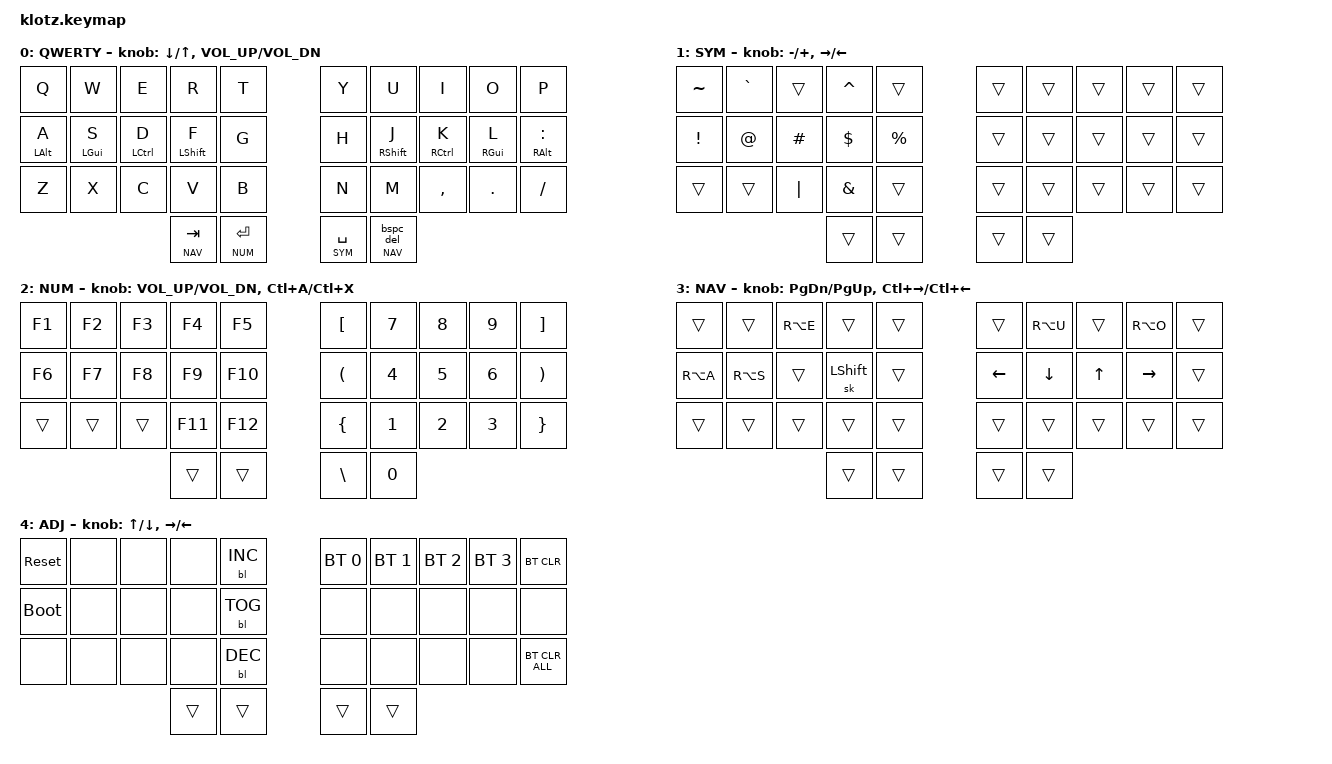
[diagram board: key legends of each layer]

//              █         ██        ▄▀▀▀▀▀▀▀▀▀▀█▀▀▀▀▀▀▀▀█▀▀▀▀▀▀▀▀▀▀█
//              █        █ █      ▄▀            ▀▄      █         █
//              █       █  █    ▄▀                ▀▄    █        █
//              █      █   █   █                    █   █       █
//              █     █    █   █                    █   █      █
//              █    █     █   █                    █   █  ▀▀▀█▀▀▀▀
//              █   █ █    █   █                    █   █    █
//              █  █   █   █   █                    █   █   █
//              █ █     █  █    ▀▄                ▄▀    █  █
//              ██       █ █      ▀▄            ▄▀      █ █
//              █         ██▄▄▄▄▄▄▄▄█▄▄▄▄▄▄▄▄▄▄▀        ██▄▄▄▄▄▄▄▄▄▄
//
//▄▄▄▄▄▄▄▄▄▄▄▄▄▄▄▄▄▄▄▄▄▄▄▄▄▄▄▄▄▄▄▄▄▄▄▄▄▄▄▄▄▄▄▄▄▄▄▄▄▄▄▄▄▄▄▄▄▄▄▄▄▄▄▄▄▄▄▄▄▄▄▄▄▄▄▄▄▄▄
//
//

/* ╭────┬────┬────┬────┬────╮ ⌄        ⌄ ╭────┬────┬────┬────┬────╮
   │  0 │  1 │  2 │  3 │  4 │ │  ⌁⌁⌁⌁   │ │  5 │  6 │  7 │  8 │  9 │
   ├────┼────┼────┼────┼────┼─╯        ╰─┼────┼────┼────┼────┼────┤
   │ 10 │ 11 │ 12 │ 13 │ 14 │╭───╮  ╭───╮│ 15 │ 16 │ 17 │ 18 │ 19 │
   ├────┼────┼────┼────┼────┤│ROT│  │ROT│├────┼────┼────┼────┼────┤
   │ 20 │ 21 │ 22 │ 23 │ 24 │╰───╯  ╰───╯│ 25 │ 26 │ 27 │ 28 │ 29 │
   ╰────┴────┴─────────┼────┼────╮  ╭────┼────┼────┼────┴────┴────╯
                       │ 30 │ 31 │  │ 32 │ 33 │
                       ╰────┴────╯  ╰────┴────╯ */

#include <behaviors.dtsi>
#include <dt-bindings/zmk/keys.h>
#include <dt-bindings/zmk/bt.h>
#include <dt-bindings/zmk/outputs.h>
#include <dt-bindings/zmk/backlight.h>

#define TAPPING_TERM_TIME 175
#define QUICK_TAP_TIME 200
#define IDLE_MOD_TIME 200

// LAYERS ├────────────────────────────────────────────┐
#define BAS 0
#define SYM 1
#define NUM 2
#define NAV 3
#define ADJ 4

/ {
    conditional_layers {
        compatible = "zmk,conditional-layers";
        tri_layer {
            if-layers = <1 2>;
            then-layer = <4>;
        };
    };
};

// LAYER-TAP KEYS ├────────────────────────────────────────────┐
#define NUM_ENT &my_lt NUM ENTER
#define SYM_SPC &my_lt SYM SPACE
#define NAV_TAB &my_lt NAV TAB
#define NAV_BSP &my_lt_bspc NAV 0

&caps_word {
    continue-list = <UNDERSCORE MINUS BSPC LSHFT RSHFT>;
};

/ {
    macros {

    };
};

#define COMBO(NAME, BINDINGS, KEYPOS, TIMEOUT) \
combo_##NAME { \
    timeout-ms = <TIMEOUT>; \
    bindings = <BINDINGS>; \
    key-positions = <KEYPOS>; \
};
/ {
    combos {
        compatible = "zmk,combos";
        COMBO(esc, &kp ESC, 13 16, 75)
        COMBO(caps, &caps_word, 10 19, 75)
        COMBO(capslock, &kp CAPSLOCK, 0 9, 75)

        // In the number cluster
        COMBO(singlequote, &kp SINGLE_QUOTE, 6 7, 50)
        COMBO(doublequote, &kp DOUBLE_QUOTES, 7 8, 50)
        COMBO(minus, &kp MINUS, 17 18, 50)
        COMBO(plus, &kp PLUS, 16 17, 50)
        COMBO(equal, &kp EQUAL, 27 28, 50)
        COMBO(star, &kp ASTERISK, 26 27, 50)
        COMBO(underscore, &kp UNDERSCORE, 16 17 18, 50)
    };
};

/ {
    behaviors {
        colsem: colon_semicolon {
            compatible = "zmk,behavior-mod-morph";
            label = "inverted colon/semicolon";
            #binding-cells = <0>;
            bindings = <&kp COLON>, <&kp SEMICOLON>;
            mods = <(MOD_LSFT|MOD_RSFT)>;
        };

        bspc_del: backspace_delete {
            compatible = "zmk,behavior-mod-morph";
            label = "backspace and shift delete";
            #binding-cells = <0>;
            bindings = <&kp BACKSPACE>, <&kp DELETE>;
            mods = <(MOD_LSFT|MOD_RSFT)>;
        };

        hl: homerow_mods_left {
            compatible = "zmk,behavior-hold-tap";
            label = "homerow mods left";
            #binding-cells = <2>;
            flavor = "tap-preferred";
            tapping-term-ms = <TAPPING_TERM_TIME>;
            quick-tap-ms = <QUICK_TAP_TIME>;
            require-prior-idle-ms = <IDLE_MOD_TIME>;
            // global-quick-tap;
            bindings = <&kp>, <&kp>;
            // opposite side hand keys
            hold-trigger-key-positions = <5 6 7 8 9 15 16 17 18 19 25 26 27 28 29 32 33>;
        };

        hr: homerow_mods_right {
            compatible = "zmk,behavior-hold-tap";
            label = "homerow mods right";
            #binding-cells = <2>;
            flavor = "tap-preferred";
            tapping-term-ms = <TAPPING_TERM_TIME>;
            quick-tap-ms = <QUICK_TAP_TIME>;
            require-prior-idle-ms = <IDLE_MOD_TIME>;
            // global-quick-tap;
            bindings = <&kp>, <&kp>;
            // opposite side hand keys
            hold-trigger-key-positions = <0 1 2 3 4 10 11 12 13 14 20 21 22 23 24 30 31>;
        };

        my_lt: my_layer_taps {
            compatible = "zmk,behavior-hold-tap";
            label = "my layer taps";
            #binding-cells = <2>;
            // flavor = "tap-preferred";
            flavor = "balanced";
            tapping-term-ms = <TAPPING_TERM_TIME>;
            quick-tap-ms = <QUICK_TAP_TIME>;
            require-prior-idle-ms = <IDLE_MOD_TIME>;
            // global-quick-tap;
            bindings = <&mo>, <&kp>;
            // non-thumb keys
            /* hold-trigger-key-positions = <0 1 2 3 4 5 6 7 8 9 10 11 12 13 14 15 16 17 18 19 20 21 22 23>; */
        };

        my_lt_bspc: my_layer_tap_bspc_del {
            compatible = "zmk,behavior-hold-tap";
            label = "my layer taps backspace";
            #binding-cells = <2>;
            tapping-term-ms = <TAPPING_TERM_TIME>;
            quick-tap-ms = <QUICK_TAP_TIME>;
            require-prior-idle-ms = <IDLE_MOD_TIME>;
            bindings = <&mo>, <&bspc_del>;
        };
    };
};


/ {

    keymap {
        compatible = "zmk,keymap";

        /*  ┌───────────────────────────────────────────────────────────┐
            │ q w e r t y                                               │
            └───────────────────────────────────────────────────────────┘
            ╭───────────┬───────────┬───────────┬───────────┬───────────╮ ⌄                    ⌄ ╭───────────┬───────────┬───────────┬───────────┬───────────╮
            │     Q     │     W     │     E     │     R     │     T     │ │     ⌁⌁⌁⌁⌁⌁⌁⌁⌁⌁     │ │     Y     │     U     │     I     │     O     │     P     │
            ├───────────┼───────────┼───────────┼───────────┼───────────┼─╯                    ╰─┼───────────┼───────────┼───────────┼───────────┼───────────┤
            │   A/ALT   │   S/GUI   │  D/CTRL   │  F/SHIFT  │     G     │╭──────────╮╭──────────╮│     H     │  J/SHIFT  │  K/CTRL   │   L/GUI   │   :/ALT   │
            ├───────────┼───────────┼───────────┼───────────┼───────────┤│          ││          │├───────────┼───────────┼───────────┼───────────┼───────────┤
            │     Z     │     X     │     C     │     V     │     B     │╰──────────╯╰──────────╯│     N     │     M     │     ,     │     .     │     /     │
            ╰───────────┴───────────┴───────────┴───────────┼───────────┼───────────╮╭───────────┼───────────┼───────────┴───────────┴───────────┴───────────╯
                                                            │  Tab/NAV  │ Enter/NUM ││ Space/SYM │  Esc/NAV  │
                                                            ╰───────────┴───────────╯╰───────────┴───────────╯ */

        qwerty {
            label = "QWERTY";

            bindings = <
             &kp Q       &kp W       &kp E       &kp R       &kp T                                &kp Y       &kp U       &kp I       &kp O       &kp P
             &hl LALT A  &hl LGUI S  &hl LCTRL D &hl LSHFT F &kp G                                &kp H       &hr RSHFT J &hr RCTRL K &hr RGUI L  &hr RALT COLON
             &kp Z       &kp X       &kp C       &kp V       &kp B                                &kp N       &kp M       &kp COMMA   &kp DOT     &kp SLASH
                                                             NAV_TAB     NUM_ENT      SYM_SPC     NAV_BSP
            >;
            sensor-bindings = <&inc_dec_kp DOWN UP &inc_dec_kp C_VOL_UP C_VOL_DN>;
        };

        /*  ┌───────────────────────────────────────────────────────────┐
            │ s y m b o l s                                             │
            └───────────────────────────────────────────────────────────┘
            ╭───────────┬───────────┬───────────┬───────────┬───────────╮ ⌄                    ⌄ ╭───────────┬───────────┬───────────┬───────────┬───────────╮
            │     ~     │     `     │           │     ^     │           │ │     ⌁⌁⌁⌁⌁⌁⌁⌁⌁⌁       │ │           │           │           │           │           │
            ├───────────┼───────────┼───────────┼───────────┼───────────┼─╯                    ╰─┼───────────┼───────────┼───────────┼───────────┼───────────┤
            │     !     │     @     │     #     │     $     │     %     │╭──────────╮╭──────────╮│           │           │           │           │           │
            ├───────────┼───────────┼───────────┼───────────┼───────────┤│          ││          │├───────────┼───────────┼───────────┼───────────┼───────────┤
            │           │           │     |     │     &     │           │╰──────────╯╰──────────╯│           │           │           │           │           │
            ╰───────────┴───────────┴───────────┴───────────┼───────────┼───────────╮╭───────────┼───────────┼───────────┴───────────┴───────────┴───────────╯
                                                            │           │           ││           │           │
                                                            ╰───────────┴───────────╯╰───────────┴───────────╯ */
        symbols {
            label = "SYM";

            bindings = <
             &kp TILDE   &kp GRAVE   &trans      &kp CARET   &trans                               &trans      &trans      &trans      &trans      &trans
             &kp EXCL    &kp AT      &kp HASH    &kp DLLR    &kp PRCNT                            &trans      &trans      &trans      &trans      &trans
             &trans      &trans      &kp PIPE    &kp AMPS    &trans                               &trans      &trans      &trans      &trans      &trans
                                                             &trans       &trans      &trans      &trans
            >;
            sensor-bindings = <&inc_dec_kp MINUS PLUS &inc_dec_kp RIGHT LEFT>;
        };

        /*  ┌───────────────────────────────────────────────────────────┐
            │ n u m b e r s                                             │
            └───────────────────────────────────────────────────────────┘
            ╭───────────┬───────────┬───────────┬───────────┬───────────╮ ⌄                    ⌄ ╭───────────┬───────────┬───────────┬───────────┬───────────╮
            │    F1     │    F2     │    F3     │    F4     │    F5     │ │     ⌁⌁⌁⌁⌁⌁⌁⌁⌁⌁     │ │     [     │     7     │     8     │     9     │     ]     │
            ├───────────┼───────────┼───────────┼───────────┼───────────┼─╯                    ╰─┼───────────┼───────────┼───────────┼───────────┼───────────┤
            │    F6     │    F7     │    F8     │    F9     │    F10    │╭──────────╮╭──────────╮│     (     │     4     │     5     │     6     │     )     │
            ├───────────┼───────────┼───────────┼───────────┼───────────┤│          ││          │├───────────┼───────────┼───────────┼───────────┼───────────┤
            │           │           │           │    F11    │    F12    │╰──────────╯╰──────────╯│     {     │     1     │     2     │     3     │     }     │
            ╰───────────┴───────────┴───────────┴───────────┼───────────┼───────────╮╭───────────┼───────────┼───────────┴───────────┴───────────┴───────────╯
                                                            │           │           ││     \     │     0     │
                                                            ╰───────────┴───────────╯╰───────────┴───────────╯ */
        numbers {
            label = "NUM";

            bindings = <
             &kp F1      &kp F2      &kp F3      &kp F4      &kp F5                               &kp LBKT    &kp N7      &kp N8      &kp N9      &kp RBKT
             &kp F6      &kp F7      &kp F8      &kp F9      &kp F10                              &kp LPAR    &kp N4      &kp N5      &kp N6      &kp RPAR
             &trans      &trans      &trans      &kp F11     &kp F12                              &kp LBRC    &kp N1      &kp N2      &kp N3      &kp RBRC
                                                             &trans       &trans      &kp BSLH    &kp N0
            >;
            sensor-bindings = <&inc_dec_kp C_VOL_UP C_VOL_DN  &inc_dec_kp LC(A) LC(X)>;
        };

        /*  ┌───────────────────────────────────────────────────────────┐
            │ n a v i g a t i o n                                       │
            └───────────────────────────────────────────────────────────┘
            ╭───────────┬───────────┬───────────┬───────────┬───────────╮ ⌄                    ⌄ ╭───────────┬───────────┬───────────┬───────────┬───────────╮
            │           │           │     €     │           │           │ │     ⌁⌁⌁⌁⌁⌁⌁⌁⌁⌁     │ │           │     Ü     │           │     Ö     │           │
            ├───────────┼───────────┼───────────┼───────────┼───────────┼─╯                    ╰─┼───────────┼───────────┼───────────┼───────────┼───────────┤
            │     Ä     │     ß     │           │  OSM SFT  │           │╭──────────╮╭──────────╮│     ←     │     ↓     │     ↑     │     →     │           │
            ├───────────┼───────────┼───────────┼───────────┼───────────┤│          ││          │├───────────┼───────────┼───────────┼───────────┼───────────┤
            │           │           │           │           │           │╰──────────╯╰──────────╯│           │           │           │           │           │
            ╰───────────┴───────────┴───────────┴───────────┼───────────┼───────────╮╭───────────┼───────────┼───────────┴───────────┴───────────┴───────────╯
                                                            │           │           ││           │           │
                                                            ╰───────────┴───────────╯╰───────────┴───────────╯ */
        navigation {
            label = "NAV";

            bindings = <
             &trans      &trans      &kp RA(E)   &trans      &trans                               &trans      &kp RA(U)   &trans      &kp RA(O)   &trans
             &kp RA(A)   &kp RA(S)   &trans      &sk LSHIFT  &trans                               &kp LEFT    &kp DOWN    &kp UP      &kp RIGHT   &trans
             &trans      &trans      &trans      &trans      &trans                               &trans      &trans      &trans      &trans      &trans
                                                             &trans       &trans      &trans      &trans
            >;
            sensor-bindings = <&inc_dec_kp PG_DN PG_UP  &inc_dec_kp LC(RIGHT) LC(LEFT)>;
        };

        /*  ┌───────────────────────────────────────────────────────────┐
            │ a d j u s t                                               │
            └───────────────────────────────────────────────────────────┘
            ╭───────────┬───────────┬───────────┬───────────┬───────────╮ ⌄                    ⌄ ╭───────────┬───────────┬───────────┬───────────┬───────────╮
            │   Reset   │           │           │Tap. Term ↑│           │ │     ⌁⌁⌁⌁⌁⌁⌁⌁⌁⌁       │ │           │     Ü     │           │     Ö     │           │
            ├───────────┼───────────┼───────────┼───────────┼───────────┼─╯                    ╰─┼───────────┼───────────┼───────────┼───────────┼───────────┤
            │Bootloader │           │           │Print TapT.│           │╭──────────╮╭──────────╮│     ←     │     ↓     │     ↑     │     →     │           │
            ├───────────┼───────────┼───────────┼───────────┼───────────┤│          ││          │├───────────┼───────────┼───────────┼───────────┼───────────┤
            │Make Keymap│           │           │Tap. Term ↓│           │╰──────────╯╰──────────╯│           │           │           │           │           │
            ╰───────────┴───────────┴───────────┴───────────┼───────────┼───────────╮╭───────────┼───────────┼───────────┴───────────┴───────────┴───────────╯
                                                            │           │           ││           │           │
                                                            ╰───────────┴───────────╯╰───────────┴───────────╯ */
        function {
            label = "ADJ";

            bindings = <
                &sys_reset &none     &none       &none       &bl BL_INC                           &bt BT_SEL 0 &bt BT_SEL 1 &bt BT_SEL 2 &bt BT_SEL 3  &bt BT_CLR
                &bootloader &none    &none       &none       &bl BL_TOG                           &none        &none       &none         &none         &none
                &none      &none     &none       &none       &bl BL_DEC                           &none        &none       &none         &none         &bt BT_CLR_ALL
                                                             &trans      &trans       &trans      &trans
            >;
            sensor-bindings = <&inc_dec_kp UP DOWN  &inc_dec_kp RIGHT LEFT>;
        };
    };
};
